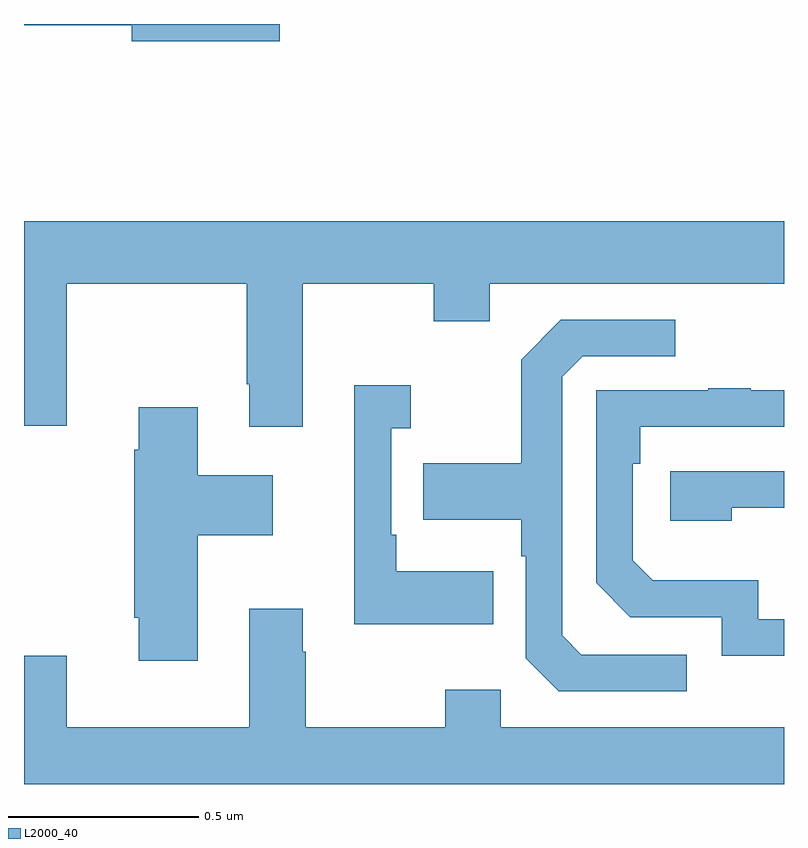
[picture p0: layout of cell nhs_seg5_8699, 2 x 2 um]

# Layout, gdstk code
import gdstk
lib = gdstk.Library(unit=1e-6, precision=1e-09)
def P(c, l, *ps):  # polygons
    for p in ps: c.add(gdstk.Polygon(p, *l))
L2000_40 = (2000, 40)

nhs_seg5_8699 = lib.new_cell('nhs_seg5_8699')
P(nhs_seg5_8699, L2000_40, [(225.673,834.799),(225,834.799),(225,834.796),(225.284,834.796),(225.284,834.754),(225.673,834.754)],
  [(225.733,834.116),(226.078,834.116),(226.078,834.017),(226.225,834.017),(226.225,834.116),(227,834.116),(227,834.28),(225,834.28),(225,833.742),(225.112,833.742),(225.112,834.116),(225.586,834.116),(225.586,833.851),(225.593,833.851),(225.593,833.739),(225.733,833.739)],
  [(226.744,833.139),(226.467,833.139),(226.416,833.19),(226.416,833.871),(226.47,833.925),(226.714,833.925),(226.714,834.021),(226.413,834.021),(226.308,833.915),(226.308,833.643),(226.051,833.643),(226.051,833.495),(226.308,833.495),(226.308,833.399),(226.32,833.399),(226.32,833.13),(226.407,833.043),(226.744,833.043)],
  [(226.235,833.359),(225.979,833.359),(225.979,833.455),(225.966,833.455),(225.966,833.735),(226.018,833.735),(226.018,833.848),(225.869,833.848),(225.869,833.219),(226.235,833.219)],
  [(227,833.232),(226.932,833.232),(226.932,833.335),(226.655,833.335),(226.602,833.388),(226.602,833.642),(226.622,833.642),(226.622,833.739),(227,833.739),(227,833.835),(226.913,833.835),(226.913,833.84),(226.801,833.84),(226.801,833.835),(226.506,833.835),(226.506,833.328),(226.596,833.238),(226.836,833.238),(226.836,833.136),(227,833.136)],
  [(225.457,833.453),(225.655,833.453),(225.655,833.611),(225.457,833.611),(225.457,833.791),(225.302,833.791),(225.302,833.678),(225.29,833.678),(225.29,833.236),(225.302,833.236),(225.302,833.124),(225.457,833.124)],
  [(226.862,833.526),(227,833.526),(227,833.622),(226.701,833.622),(226.701,833.492),(226.862,833.492)],
  [(227,832.948),(226.254,832.948),(226.254,833.047),(226.108,833.047),(226.108,832.948),(225.741,832.948),(225.741,833.147),(225.733,833.147),(225.733,833.26),(225.593,833.26),(225.593,832.948),(225.112,832.948),(225.112,833.137),(225,833.137),(225,832.799),(227,832.799)])

lib.write_gds('nhs_seg5_8699.gds')
